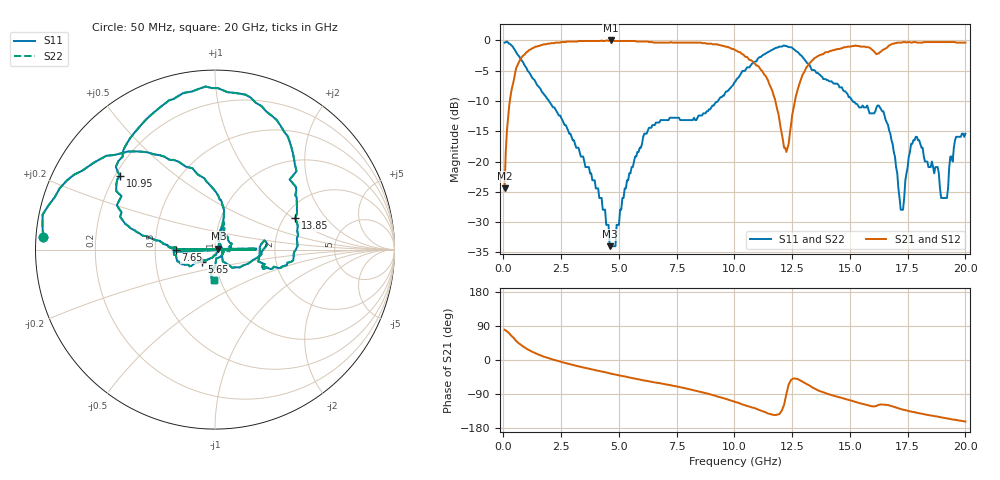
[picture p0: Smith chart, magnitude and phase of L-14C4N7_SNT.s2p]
#	mhz	s	ma	r	50
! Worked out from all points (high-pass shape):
!   400 points, 50 MHz to 20 GHz, reference 50 ohm
!   highest |S21| = 0.00 dB at 4.65 GHz (marker M1); lowest = -24.4 dB at 50 MHz (marker M2)
!   |S21| within 3 dB of the highest: 746.6 MHz to 10.61 GHz (9.858 GHz wide, 174 % of centre); 13.44 GHz to end of sweep
!   lowest |S11| = -34.0 dB at 4.6 GHz (marker M3), VSWR 1.04, Z = 51.9 + j0.611 ohm
!   |S11| at or under -10 dB: 1.969 GHz to 9.281 GHz (7.313 GHz wide, 130 % of centre); 15.12 GHz to end of sweep
!   |S22| runs from -34.0 to -0.2 dB; largest |S21 - S12| = 0
!   S11 on the Smith chart (normalised r, x): 50 MHz: 0.02, +0.04; 5.65 GHz: 0.86, -0.12; 7.65 GHz: 0.64, -0.00; 10.95 GHz: 0.22, +0.33; 13.85 GHz: 2.29, +1.04; 20 GHz: 0.93, -0.33
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50  0.96 175.9  0.06 79.8  0.06 79.8  0.96 175.9
750  0.7 128.6  0.71 40.3  0.71 40.3  0.7 128.6
3400  0.11 75.1  0.99 -19.0  0.99 -19.0  0.11 75.1
4600  0.02 17.1  1 -35.2  1 -35.2  0.02 17.1
4650  0.02 6.4  1 -36.0  1 -36.0  0.02 6.4
5650  0.1 -137.5  0.99 -48.7  0.99 -48.7  0.1 -137.5
6700  0.21 -160.4  0.96 -60.6  0.96 -60.6  0.21 -160.4
7500  0.23 1.4  0.96 -69.9  0.96 -69.9  0.23 1.4
7550  0.23 179.7  0.96 -70.6  0.96 -70.6  0.23 179.7
7600  0.23 0.3  0.96 -71.1  0.96 -71.1  0.23 0.3
7650  0.22 -179.1  0.96 -71.7  0.96 -71.7  0.22 -179.1
7700  0.22 0.3  0.96 -72.3  0.96 -72.3  0.22 0.3
10050  0.46 166.5  0.83 -111.1  0.83 -111.1  0.46 166.5
10950  0.67 142.2  0.62 -129.0  0.62 -129.0  0.67 142.2
12250  0.9 89.0  0.12 -89.8  0.12 -89.8  0.9 89.0
13350  0.57 43.2  0.68 -71.6  0.68 -71.6  0.57 43.2
13850  0.48 21.4  0.77 -85.7  0.77 -85.7  0.48 21.4
16700  0.18 -29.4  0.91 -119.8  0.91 -119.8  0.18 -29.4
17200  0.04 -15.3  0.96 -129.3  0.96 -129.3  0.04 -15.3
17850  0.16 73.3  0.97 -138.6  0.97 -138.6  0.16 73.3
19200  0.05 -82.0  0.97 -154.2  0.97 -154.2  0.05 -82.0
20000  0.17 -91.9  0.96 -162.3  0.96 -162.3  0.17 -91.9
